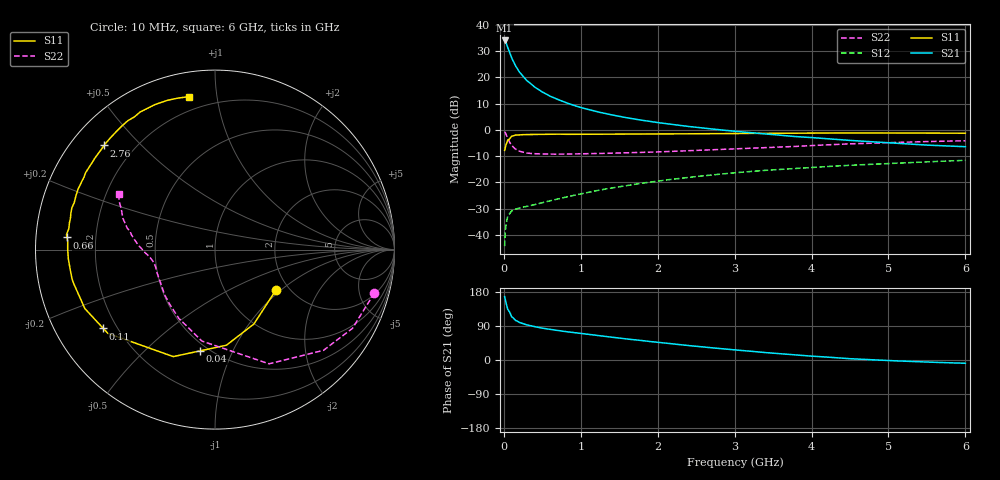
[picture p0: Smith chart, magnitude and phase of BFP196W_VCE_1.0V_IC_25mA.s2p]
! Infineon Technologies  Discrete & RF Semiconductors
! BFP196W
! VCE = 1.0 V,  IC =  25mA
! Common Emitter S-Parameters:  Jan 2016
# GHz  S  MA  R  50
!  f  S11  S21  S12  S22
! GHz  MAG  ANG  MAG  ANG  MAG  ANG  MAG  ANG
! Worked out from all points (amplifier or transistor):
!   210 points, 10 MHz to 6 GHz, reference 50 ohm
!   highest |S21| = 34.1 dB at 10 MHz (marker M1)
!   |S21| within 3 dB of that: start of sweep to 55.29 MHz
!   unconditionally stable (mu >= 1): 765.1 MHz to 3.532 GHz; 3.673 GHz to 3.846 GHz
!   at 185 MHz: K = 0.40, MSG = 26.4 dB, |S12| = -29.9 dB
!   at 1.52 GHz: K = 1.15, MAG = 11.0 dB, |S12| = -21.6 dB
!   at 6 GHz: K = 1.00, MSG = 2.6 dB, |S12| = -11.6 dB
!   S11 on the Smith chart (normalised r, x): 10 MHz: 1.71, -0.93; 40 MHz: 0.45, -0.76; 110 MHz: 0.15, -0.31; 660 MHz: 0.09, +0.04; 2.76 GHz: 0.10, +0.39; 6 GHz: 0.12, +0.84
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0.01  0.4073 -33.7  50.46 167.3  0.0061 77.5  0.9205 -15.2
0.02  0.4678 -62.4  48.77 157.9  0.012 69.7  0.8826 -29.8
0.03  0.5365 -83.2  45.33 148.6  0.0162 61.2  0.8247 -42.9
0.04  0.5707 -98.5  40.98 141.9  0.0192 54.0  0.7505 -52.9
0.05  0.6399 -111.3  37.3 133.8  0.0225 48.8  0.7038 -64.7
0.1  0.7578 -142.0  23.63 114.5  0.0284 35.4  0.515 -98.1
0.11  0.7619 -144.8  22.21 113.0  0.0289 34.5  0.4943 -101.5
0.15  0.796 -155.6  16.73 104.7  0.0309 31.2  0.4327 -117.8
0.2  0.802 -162.8  12.77 99.4  0.0323 30.7  0.3946 -130.1
0.26  0.813 -168.4  10.03 94.9  0.034 31.5  0.3733 -139.5
0.3  0.8139 -171.0  8.641 92.6  0.035 32.8  0.3614 -144.5
0.4  0.8189 -176.5  6.541 87.8  0.0376 36.2  0.3519 -152.3
0.5  0.8207 179.9  5.263 84.0  0.0411 39.9  0.3482 -157.5
0.66  0.8276 175.3  4.036 79.2  0.0468 44.2  0.3448 -162.5
1.02  0.825 167.3  2.618 69.5  0.0612 50.4  0.3501 -168.4
1.4  0.8289 160.1  1.933 60.1  0.0782 53.1  0.3597 -171.7
2.02  0.8385 149.0  1.366 46.2  0.1069 52.8  0.3812 -176.2
2.76  0.8478 136.8  1.021 31.2  0.1412 48.9  0.4192 177.9
3.1  0.8547 131.5  0.915 25.0  0.1566 46.3  0.4407 174.6
4.1  0.8723 117.4  0.696 9.0  0.1969 38.5  0.5107 165.2
5.1  0.8719 106.9  0.555 -2.3  0.232 30.7  0.5754 155.8
6  0.8646 99.5  0.478 -8.6  0.2634 24.3  0.621 149.8
